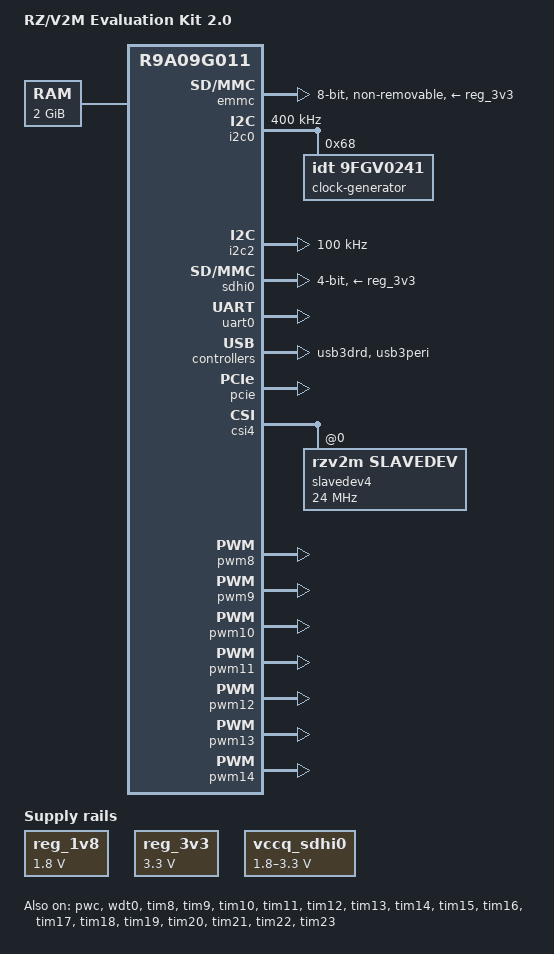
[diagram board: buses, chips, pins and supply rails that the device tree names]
// SPDX-License-Identifier: (GPL-2.0-only OR BSD-2-Clause)
/*
 * Device Tree Source for the RZ/V2M (r9a09g011) Evaluation Kit Board
 *
 * Copyright (C) 2022 Renesas Electronics Corp.
 */

/dts-v1/;
#include "r9a09g011.dtsi"
#include <dt-bindings/gpio/gpio.h>
#include <dt-bindings/pinctrl/rzv2m-pinctrl.h>
#include "r9a09g011_reserved-memory.dtsi"
#include "r9a09g011_drp-ai.dtsi"
#include "r9a09g011_isp.dtsi"

/ {
	model = "RZ/V2M Evaluation Kit 2.0";
	compatible = "renesas,rzv2mevk2", "renesas,r9a09g011";

	aliases {
		serial0 = &uart0;
		ethernet0 = &avb;
	};

	chosen {
		stdout-path = "serial0:115200n8";
	};

	memory@180000000 {
		device_type = "memory";
		reg = <0x1 0x80000000 0x0 0x7FC00000>;
	};

	reg_1v8: regulator-1v8 {
		compatible = "regulator-fixed";
		regulator-name = "fixed-1.8V";
		regulator-min-microvolt = <1800000>;
		regulator-max-microvolt = <1800000>;
		regulator-boot-on;
		regulator-always-on;
	};

	reg_3v3: regulator-3v3 {
		compatible = "regulator-fixed";
		regulator-name = "fixed-3.3V";
		regulator-min-microvolt = <3300000>;
		regulator-max-microvolt = <3300000>;
		regulator-boot-on;
		regulator-always-on;
	};

	vccq_sdhi0: regulator-vccq-sdhi0 {
		compatible = "regulator-gpio";

		regulator-name = "SDHI0 VccQ";
		regulator-min-microvolt = <1800000>;
		regulator-max-microvolt = <3300000>;

		gpios = <&pwc 0 GPIO_ACTIVE_HIGH>;
		gpios-states = <1>;
		states = <3300000 0>, <1800000 1>;
	};
};

&avb {
	renesas,no-ether-link;
	phy-handle = <&phy0>;
	phy-mode = "gmii";
	status = "disabled";

	phy0: ethernet-phy@0 {
		compatible = "ethernet-phy-id001c.c916",
			     "ethernet-phy-ieee802.3-c22";
		reg = <0>;
	};
};

&emmc {
	pinctrl-0 = <&emmc_pins>;
	pinctrl-1 = <&emmc_pins>;
	pinctrl-names = "default", "state_uhs";

	vmmc-supply = <&reg_3v3>;
	vqmmc-supply = <&reg_1v8>;
	bus-width = <8>;
	mmc-hs200-1_8v;
	no-sd;
	no-sdio;
	non-removable;
	fixed-emmc-driver-type = <1>;
	max-frequency = <200000000>;
	status = "okay";
};

&extal_clk {
	clock-frequency = <48000000>;
};

&i2c0 {
	pinctrl-0 = <&i2c0_pins>;
	pinctrl-names = "default";
	clock-frequency = <400000>;
	status = "okay";
	clock-generator@68 {
		compatible = "idt,9fgv0241";
		reg = <0x68>;
	};
};

&i2c2 {
	pinctrl-0 = <&i2c2_pins>;
	pinctrl-names = "default";
	clock-frequency = <100000>;
	status = "okay";
};

&pinctrl {
	csi4_pins: csi4 {
		pinmux = <RZV2M_PORT_PINMUX(4, 0, 1)>, /* CSTXD4  */
			 <RZV2M_PORT_PINMUX(4, 1, 1)>, /* CSRXD4  */
			 <RZV2M_PORT_PINMUX(4, 2, 1)>, /* CSSCLK4 */
			 <RZV2M_PORT_PINMUX(4, 3, 1)>; /* CSCS4   */
	};

	emmc_pins: emmc {
		emmc_data {
			pinmux = <RZV2M_PORT_PINMUX(0, 0, 2)>, /* MMDAT0 */
				 <RZV2M_PORT_PINMUX(0, 1, 2)>, /* MMDAT1 */
				 <RZV2M_PORT_PINMUX(0, 2, 2)>, /* MMDAT2 */
				 <RZV2M_PORT_PINMUX(0, 3, 2)>, /* MMDAT3 */
				 <RZV2M_PORT_PINMUX(0, 4, 2)>, /* MMDAT4 */
				 <RZV2M_PORT_PINMUX(0, 5, 2)>, /* MMDAT5 */
				 <RZV2M_PORT_PINMUX(0, 6, 2)>, /* MMDAT6 */
				 <RZV2M_PORT_PINMUX(0, 7, 2)>; /* MMDAT7 */
			power-source = <1800>;
		};

		emmc_ctrl {
			pinmux = <RZV2M_PORT_PINMUX(0, 10, 2)>, /* MMCMD */
				 <RZV2M_PORT_PINMUX(0, 11, 2)>; /* MMCLK */
			power-source = <1800>;
		};
	};

	i2c0_pins: i2c0 {
		pinmux = <RZV2M_PORT_PINMUX(5, 0, 2)>, /* SDA */
			 <RZV2M_PORT_PINMUX(5, 1, 2)>; /* SCL */
	};

	i2c2_pins: i2c2 {
		pinmux = <RZV2M_PORT_PINMUX(3, 8, 2)>, /* SDA */
			 <RZV2M_PORT_PINMUX(3, 9, 2)>; /* SCL */
	};

	sdhi0_pins: sd0 {
		sd0_data {
			pinmux = <RZV2M_PORT_PINMUX(8, 2, 1)>, /* SD0DAT0 */
				 <RZV2M_PORT_PINMUX(8, 3, 1)>, /* SD0DAT1 */
				 <RZV2M_PORT_PINMUX(8, 4, 1)>, /* SD0DAT2 */
				 <RZV2M_PORT_PINMUX(8, 5, 1)>; /* SD0DAT3 */
			power-source = <3300>;
		};

		sd0_ctrl {
			pinmux = <RZV2M_PORT_PINMUX(8, 0, 1)>, /* SD0CMD */
				 <RZV2M_PORT_PINMUX(8, 1, 1)>; /* SD0CLK */
			power-source = <3300>;
		};

		sd0_cd {
			pinmux = <RZV2M_PORT_PINMUX(8, 7, 1)>; /* SD0CD */
			power-source = <3300>;
		};
	};

	sdhi0_pins_uhs: sd0-uhs {
		sd0_uhs_data {
			pinmux = <RZV2M_PORT_PINMUX(8, 2, 1)>, /* SD0DAT0 */
				 <RZV2M_PORT_PINMUX(8, 3, 1)>, /* SD0DAT1 */
				 <RZV2M_PORT_PINMUX(8, 4, 1)>, /* SD0DAT2 */
				 <RZV2M_PORT_PINMUX(8, 5, 1)>; /* SD0DAT3 */
			power-source = <1800>;
		};

		sd0_uhs_ctrl {
			pinmux = <RZV2M_PORT_PINMUX(8, 0, 1)>, /* SD0CMD */
				 <RZV2M_PORT_PINMUX(8, 1, 1)>; /* SD0CLK */
			power-source = <1800>;
		};

		sd0_uhs_cd {
			pinmux = <RZV2M_PORT_PINMUX(8, 7, 1)>; /* SD0CD */
			power-source = <1800>;
		};
	};

	uart0_pins: uart0 {
		pinmux = <RZV2M_PORT_PINMUX(3, 0, 2)>, /* UATX0 */
			 <RZV2M_PORT_PINMUX(3, 1, 2)>, /* UARX0 */
			 <RZV2M_PORT_PINMUX(3, 2, 2)>, /* UACTS0N */
			 <RZV2M_PORT_PINMUX(3, 3, 2)>; /* UARTS0N */
	};

	pwm8_pins: pwm8 {
		pinmux = <RZV2M_PORT_PINMUX(1, 8, 1)>;  /* PM8 */
	};

	pwm9_pins: pwm9 {
		pinmux = <RZV2M_PORT_PINMUX(1, 9, 1)>;  /* PM9 */
	};

	pwm10_pins: pwm10 {
		pinmux = <RZV2M_PORT_PINMUX(1, 10, 1)>; /* PM10 */
	};

	pwm11_pins: pwm11 {
		pinmux = <RZV2M_PORT_PINMUX(1, 11, 1)>; /* PM11 */
	};

	pwm12_pins: pwm12 {
		pinmux = <RZV2M_PORT_PINMUX(1, 12, 1)>; /* PM12 */
	};

	pwm13_pins: pwm13 {
		pinmux = <RZV2M_PORT_PINMUX(1, 13, 1)>; /* PM13 */
	};

	pwm14_pins: pwm14 {
		pinmux = <RZV2M_PORT_PINMUX(1, 14, 1)>; /* PM14 */
	};
};

&pwc {
	renesas,rzv2m-pwc-power;
	status = "okay";
};

&sdhi0 {
	pinctrl-0 = <&sdhi0_pins>;
	pinctrl-1 = <&sdhi0_pins_uhs>;
	pinctrl-names = "default", "state_uhs";

	vmmc-supply = <&reg_3v3>;
	vqmmc-supply = <&vccq_sdhi0>;
	bus-width = <4>;
	sd-uhs-sdr50;
	sd-uhs-sdr104;
	status = "okay";
};

&uart0 {
	pinctrl-0 = <&uart0_pins>;
	pinctrl-names = "default";

	uart-has-rtscts;
	status = "okay";
};

&usb3drd {
	status = "okay";
};

&usb3host {
	status = "disabled";
};

&usb3peri {
	companion = <&usb3host>;
	status = "okay";
	usb-role-switch;
};

&wdt0 {
	status = "okay";
};

&pcie {
    status = "okay";
};

&tim8 {
    status = "okay";
};

&tim9 {
    status = "okay";
};

&tim10 {
    status = "okay";
};

&tim11 {
    status = "okay";
};

&tim12 {
    status = "okay";
};

&tim13 {
    status = "okay";
};

&tim14 {
    status = "okay";
};

&tim15 {
    status = "okay";
};

&tim16 {
    status = "okay";
};

&tim17 {
    status = "okay";
};

&tim18 {
    status = "okay";
};

&tim19 {
    status = "okay";
};

&tim20 {
    status = "okay";
};

&tim21 {
    status = "okay";
};

&tim22 {
    status = "okay";
};

&tim23 {
    status = "okay";
};

&csi4 {
	pinctrl-0 = <&csi4_pins>;
	pinctrl-names = "default";

	status = "okay";
	slavedev4: spi@0 {
		compatible = "rzv2m,slavedev";
		reg = <0>;
		spi-max-frequency = <24000000>;
		spi-cpha;
		spi-cpol;
	};
};

&pwm8 {
	pinctrl-0 = <&pwm8_pins>;
	pinctrl-names = "default";
	status = "okay";
};

&pwm9 {
	pinctrl-0 = <&pwm9_pins>;
	pinctrl-names = "default";
	status = "okay";
};

&pwm10 {
	pinctrl-0 = <&pwm10_pins>;
	pinctrl-names = "default";
	status = "okay";
};

&pwm11 {
	pinctrl-0 = <&pwm11_pins>;
	pinctrl-names = "default";
	status = "okay";
};

&pwm12 {
	pinctrl-0 = <&pwm12_pins>;
	pinctrl-names = "default";
	status = "okay";
};

&pwm13 {
	pinctrl-0 = <&pwm13_pins>;
	pinctrl-names = "default";
	status = "okay";
};

&pwm14 {
	pinctrl-0 = <&pwm14_pins>;
	pinctrl-names = "default";
	status = "okay";
};
